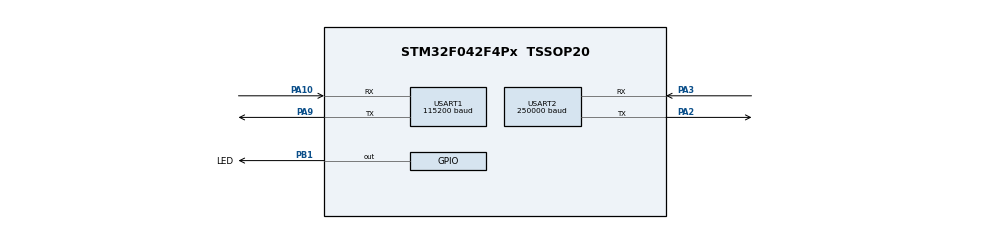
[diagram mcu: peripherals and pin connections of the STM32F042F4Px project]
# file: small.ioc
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Mcu.Family=STM32F0
Mcu.Name=STM32F042F4Px
Mcu.Package=TSSOP20
NVIC.USART1_IRQn=true\:0\:0\:false\:false\:true\:true\:true\:true
NVIC.USART2_IRQn=true\:0\:0\:false\:false\:true\:true\:true\:true
PA10.Mode=Asynchronous
PA10.Signal=USART1_RX
PA13.Mode=Serial_Wire
PA13.Signal=SYS_SWDIO
PA14.Mode=Serial_Wire
PA14.Signal=SYS_SWCLK
PA2.Mode=Asynchronous
PA2.Signal=USART2_TX
PA3.Mode=Asynchronous
PA3.Signal=USART2_RX
PA9.Mode=Asynchronous
PA9.Signal=USART1_TX
PB1.GPIO_Label=LED
PB1.GPIO_ModeDefaultOutputPP=GPIO_MODE_OUTPUT_OD
PB1.GPIO_PuPd=GPIO_NOPULL
PB1.Signal=GPIO_Output
ProjectManager.HeapSize=0x200
ProjectManager.StackSize=0x400
ProjectManager.TargetToolchain=Makefile
USART1.BaudRate=115200
USART1.VirtualMode=VM_ASYNC
USART2.BaudRate=250000
USART2.VirtualMode-Asynchronous=VM_ASYNC
board=custom

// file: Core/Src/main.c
/* USER CODE BEGIN Header */
/**
 ******************************************************************************
 * @file           : main.c
 * @brief          : Main program body
 ******************************************************************************
 * @attention
 *
 * Copyright (c) 2024 STMicroelectronics.
 * All rights reserved.
 *
 * This software is licensed under terms that can be found in the LICENSE file
 * in the root directory of this software component.
 * If no LICENSE file comes with this software, it is provided AS-IS.
 *
 ******************************************************************************
 */
/* USER CODE END Header */
#include "main.h"
#include "usart.h"
#include "gpio.h"

/* USER CODE BEGIN Includes */
#include "printf.h"
/* USER CODE END Includes */

/* USER CODE BEGIN PD */
#define STR1(x) #x
#define STR(x) STR1(x)
#define huartM huart1
/* USER CODE END PD */

/* USER CODE BEGIN PV */
uint8_t rxBuffer[10];
uint8_t txBuffer[10];
/* USER CODE END PV */

void SystemClock_Config(void);

int main(void)
{

  /* MCU Configuration--------------------------------------------------------*/

  /* Reset of all peripherals, Initializes the Flash interface and the Systick. */
  HAL_Init();

  /* Configure the system clock */
  SystemClock_Config();

  /* Initialize all configured peripherals */
  MX_GPIO_Init();
  MX_USART2_UART_Init();
  MX_USART1_UART_Init();
  /* USER CODE BEGIN 2 */
  printf(STR(BUILD_ID) "\r\n");
  printf("Ready\r\n");
  /* USER CODE END 2 */

  /* Infinite loop */
  /* USER CODE BEGIN WHILE */
  HAL_UART_Receive_IT(&huart1, rxBuffer, 10);
  HAL_UART_Receive_IT(&huart2, txBuffer, 10);
  while (1)
  {
    /* USER CODE END WHILE */

  }
}

void SystemClock_Config(void)
{
  RCC_OscInitTypeDef RCC_OscInitStruct = {0};
  RCC_ClkInitTypeDef RCC_ClkInitStruct = {0};
  RCC_PeriphCLKInitTypeDef PeriphClkInit = {0};

  /** Initializes the RCC Oscillators according to the specified parameters
   * in the RCC_OscInitTypeDef structure.
   */
  RCC_OscInitStruct.OscillatorType = RCC_OSCILLATORTYPE_HSI;
  RCC_OscInitStruct.HSIState = RCC_HSI_ON;
  RCC_OscInitStruct.HSICalibrationValue = RCC_HSICALIBRATION_DEFAULT;
  RCC_OscInitStruct.PLL.PLLState = RCC_PLL_NONE;
  if (HAL_RCC_OscConfig(&RCC_OscInitStruct) != HAL_OK)
  {
    Error_Handler();
  }

  /** Initializes the CPU, AHB and APB buses clocks
   */
  RCC_ClkInitStruct.ClockType = RCC_CLOCKTYPE_HCLK | RCC_CLOCKTYPE_SYSCLK | RCC_CLOCKTYPE_PCLK1;
  RCC_ClkInitStruct.SYSCLKSource = RCC_SYSCLKSOURCE_HSI;
  RCC_ClkInitStruct.AHBCLKDivider = RCC_SYSCLK_DIV1;
  RCC_ClkInitStruct.APB1CLKDivider = RCC_HCLK_DIV1;

  if (HAL_RCC_ClockConfig(&RCC_ClkInitStruct, FLASH_LATENCY_0) != HAL_OK)
  {
    Error_Handler();
  }
  PeriphClkInit.PeriphClockSelection = RCC_PERIPHCLK_USART1;
  PeriphClkInit.Usart1ClockSelection = RCC_USART1CLKSOURCE_PCLK1;
  if (HAL_RCCEx_PeriphCLKConfig(&PeriphClkInit) != HAL_OK)
  {
    Error_Handler();
  }
}

/* USER CODE BEGIN 4 */
void HAL_UART_RxCpltCallback(UART_HandleTypeDef *huart)
{
  printf("HAL_UART_RxCpltCallback(): ");
  if (huart->Instance == huart1.Instance)
  {
    printf("uart1 -> uart2\r\n");
    HAL_UART_Transmit_IT(&huart2, rxBuffer, 10);
    HAL_UART_Receive_IT(&huart1, rxBuffer, 10);
  }
  if (huart->Instance == huart2.Instance)
  {
    printf("uart2 -> uart1\r\n");
    HAL_UART_Transmit_IT(&huart1, txBuffer, 10);
    HAL_UART_Receive_IT(&huart2, txBuffer, 10);
  }
}
/* USER CODE END 4 */

void Error_Handler(void)
{
  /* USER CODE BEGIN Error_Handler_Debug */
  /* User can add his own implementation to report the HAL error return state */
  __disable_irq();
  printf("Error_Handler\r\n");
  while (1)
  {
  }
  /* USER CODE END Error_Handler_Debug */
}
